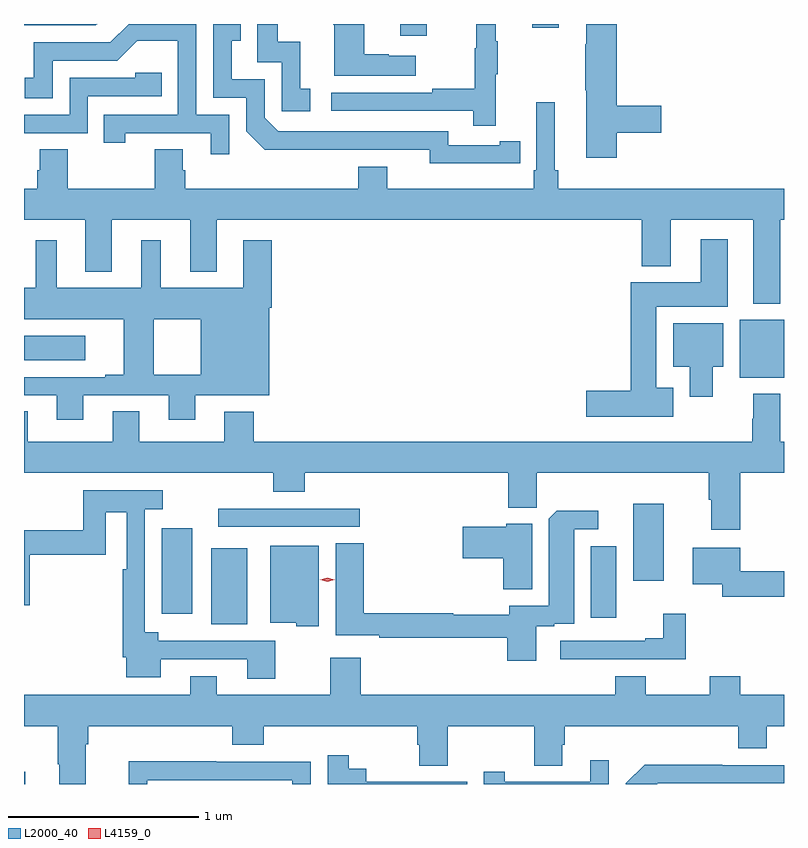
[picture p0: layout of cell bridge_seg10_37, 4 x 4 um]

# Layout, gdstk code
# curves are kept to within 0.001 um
import gdstk
lib = gdstk.Library(unit=1e-6, precision=1e-09)
def R(c, l, rs):  # rectangles x0, y0, x1, y1
    for r in rs: c.add(gdstk.rectangle(r[:2], r[2:], *l))
def P(c, l, *ps):  # polygons
    for p in ps: c.add(gdstk.Polygon(p, *l))
L2000_40 = (2000, 40)
L4159_0 = (4159, 0)

bridge_seg10_37 = lib.new_cell('bridge_seg10_37')
R(bridge_seg10_37, L2000_40, [(936.936,1321.323,936.943,1321.387), (937.922,1322.165,938.11,1322.563), (939.92,1322.199,940.054,1322.575), (937.661,1322.22,937.822,1322.668), (940.142,1322.394,940.303,1322.797), (937.959,1322.676,938.704,1322.772), (940.703,1323.461,940.936,1323.766), (936.936,1323.554,937.258,1323.682), (938.915,1325.262,939.055,1325.323), (939.611,1325.304,939.751,1325.323)])
P(bridge_seg10_37, L2000_40, [(938.016,1324.845),(937.842,1324.845),(937.842,1325.323),(937.488,1325.323),(937.391,1325.226),(936.988,1325.226),(936.988,1325.041),(936.939,1325.041),(936.939,1324.932),(937.086,1324.932),(937.086,1325.13),(937.428,1325.13),(937.532,1325.234),(937.746,1325.234),(937.746,1324.845),(937.357,1324.845),(937.357,1324.698),(937.468,1324.698),(937.468,1324.749),(937.919,1324.749),(937.919,1324.638),(938.016,1324.638)],
  [(937.321,1325.323),(936.936,1325.323),(936.936,1325.316),(937.314,1325.316)],
  [(939.419,1325.059),(939.43,1325.059),(939.43,1325.233),(939.419,1325.233),(939.419,1325.323),(939.316,1325.323),(939.316,1325.196),(939.309,1325.196),(939.309,1324.982),(939.085,1324.982),(939.085,1324.962),(938.553,1324.962),(938.553,1324.866),(939.301,1324.866),(939.301,1324.788),(939.419,1324.788)],
  [(938.443,1324.983),(938.39,1324.983),(938.39,1325.23),(938.272,1325.23),(938.272,1325.323),(938.163,1325.323),(938.163,1325.121),(938.292,1325.121),(938.292,1324.863),(938.443,1324.863)],
  [(939.44,1324.59),(939.548,1324.59),(939.548,1324.706),(939.44,1324.706),(939.44,1324.686),(939.168,1324.686),(939.168,1324.758),(938.274,1324.758),(938.202,1324.83),(938.202,1325.031),(938.029,1325.031),(938.029,1325.235),(938.078,1325.235),(938.078,1325.323),(937.932,1325.323),(937.932,1324.935),(938.106,1324.935),(938.106,1324.758),(938.204,1324.661),(939.072,1324.662),(939.072,1324.589)],
  [(938.998,1325.155),(938.855,1325.155),(938.855,1325.165),(938.728,1325.165),(938.728,1325.323),(938.563,1325.323),(938.563,1325.318),(938.57,1325.318),(938.57,1325.051),(938.998,1325.051)],
  [(940.055,1324.75),(940.291,1324.75),(940.291,1324.892),(940.055,1324.892),(940.055,1325.323),(939.896,1325.323),(939.896,1325.216),(939.889,1325.216),(939.889,1324.975),(939.896,1324.975),(939.896,1324.62),(940.055,1324.62)],
  [(937.272,1324.944),(937.661,1324.944),(937.661,1325.067),(937.521,1325.067),(937.521,1325.04),(937.176,1325.04),(937.176,1324.845),(936.936,1324.845),(936.936,1324.749),(937.272,1324.749)],
  [(940.915,1324.292),(940.936,1324.292),(940.936,1324.456),(939.749,1324.456),(939.749,1324.552),(939.73,1324.552),(939.73,1324.912),(939.633,1324.912),(939.633,1324.552),(939.62,1324.552),(939.62,1324.456),(938.848,1324.456),(938.848,1324.573),(938.696,1324.573),(938.696,1324.456),(937.784,1324.456),(937.784,1324.554),(937.771,1324.554),(937.771,1324.664),(937.624,1324.664),(937.624,1324.456),(937.167,1324.456),(937.167,1324.664),(937.019,1324.664),(937.019,1324.554),(937.007,1324.554),(937.007,1324.456),(936.936,1324.456),(936.936,1324.292),(937.259,1324.292),(937.259,1324.019),(937.399,1324.019),(937.399,1324.292),(937.811,1324.292),(937.811,1324.019),(937.951,1324.019),(937.951,1324.292),(940.187,1324.292),(940.187,1324.049),(940.339,1324.049),(940.339,1324.292),(940.775,1324.292),(940.775,1323.851),(940.915,1323.851)],
  [(940.354,1323.409),(940.264,1323.409),(940.264,1323.836),(940.639,1323.836),(940.639,1324.189),(940.499,1324.189),(940.499,1323.964),(940.13,1323.964),(940.13,1323.392),(939.894,1323.392),(939.894,1323.257),(940.354,1323.257)],
  [(937.249,1323.369),(937.697,1323.369),(937.697,1323.24),(937.837,1323.24),(937.837,1323.368),(938.227,1323.368),(938.227,1323.83),(938.24,1323.83),(938.24,1324.186),(938.09,1324.186),(938.09,1323.934),(937.657,1323.934),(937.657,1324.186),(937.553,1324.186),(937.553,1323.934),(937.108,1323.934),(937.108,1324.186),(936.998,1324.186),(936.998,1323.934),(936.936,1323.934),(936.936,1323.77),(937.46,1323.77),(937.46,1323.478),(937.618,1323.478),(937.618,1323.77),(937.865,1323.77),(937.865,1323.478),(937.618,1323.478),(937.46,1323.478),(937.364,1323.478),(937.364,1323.465),(936.936,1323.465),(936.936,1323.369),(937.109,1323.369),(937.109,1323.24),(937.249,1323.24)],
  [(940.561,1323.518),(940.615,1323.518),(940.615,1323.748),(940.352,1323.748),(940.352,1323.518),(940.439,1323.518),(940.439,1323.36),(940.561,1323.36)],
  [(940.706,1322.96),(940.936,1322.96),(940.936,1323.124),(940.915,1323.124),(940.915,1323.376),(940.775,1323.376),(940.775,1323.245),(940.768,1323.245),(940.768,1323.124),(938.144,1323.124),(938.144,1323.283),(937.991,1323.283),(937.991,1323.124),(937.543,1323.124),(937.543,1323.284),(937.403,1323.284),(937.403,1323.124),(936.955,1323.124),(936.955,1323.284),(936.936,1323.284),(936.936,1322.96),(938.249,1322.96),(938.249,1322.861),(938.414,1322.861),(938.414,1322.96),(939.485,1322.96),(939.485,1322.778),(939.635,1322.778),(939.635,1322.96),(940.541,1322.96),(940.541,1322.819),(940.553,1322.819),(940.553,1322.661),(940.706,1322.661)],
  [(938.259,1322.076),(937.642,1322.076),(937.642,1322.122),(937.572,1322.122),(937.572,1322.768),(937.666,1322.768),(937.666,1322.868),(937.249,1322.868),(937.249,1322.659),(936.936,1322.659),(936.936,1322.265),(936.965,1322.265),(936.965,1322.53),(937.365,1322.53),(937.365,1322.752),(937.476,1322.752),(937.476,1322.453),(937.456,1322.453),(937.456,1321.99),(937.475,1321.99),(937.475,1321.886),(937.657,1321.886),(937.657,1321.98),(938.111,1321.98),(938.111,1321.878),(938.259,1321.878)],
  [(939.631,1322.154),(939.728,1322.154),(939.728,1322.166),(939.832,1322.166),(939.832,1322.664),(939.958,1322.664),(939.958,1322.762),(939.74,1322.762),(939.698,1322.72),(939.698,1322.262),(939.491,1322.262),(939.491,1322.215),(939.195,1322.215),(939.195,1322.222),(938.723,1322.222),(938.723,1322.591),(938.576,1322.591),(938.576,1322.106),(938.806,1322.106),(938.806,1322.094),(939.479,1322.094),(939.479,1321.971),(939.631,1321.971)],
  [(939.61,1322.692),(939.474,1322.692),(939.474,1322.677),(939.246,1322.677),(939.246,1322.512),(939.458,1322.512),(939.458,1322.347),(939.61,1322.347)],
  [(938.488,1322.578),(938.231,1322.578),(938.231,1322.171),(938.37,1322.171),(938.37,1322.153),(938.488,1322.153)],
  [(940.936,1322.444),(940.707,1322.444),(940.707,1322.566),(940.457,1322.566),(940.457,1322.375),(940.611,1322.375),(940.611,1322.308),(940.936,1322.308)],
  [(940.418,1322.218),(940.3,1322.218),(940.3,1322.089),(940.205,1322.089),(940.205,1322.076),(939.759,1322.076),(939.759,1321.98),(940.418,1321.98)],
  [(937.261,1321.532),(937.274,1321.532),(937.274,1321.628),(938.033,1321.628),(938.033,1321.529),(938.198,1321.529),(938.198,1321.628),(939.005,1321.628),(939.005,1321.53),(939.017,1321.53),(939.017,1321.42),(939.165,1321.42),(939.165,1321.628),(939.622,1321.628),(939.622,1321.42),(939.769,1321.42),(939.769,1321.53),(939.782,1321.53),(939.782,1321.628),(940.694,1321.628),(940.694,1321.511),(940.846,1321.511),(940.846,1321.628),(940.936,1321.628),(940.936,1321.792),(940.706,1321.792),(940.706,1321.891),(940.546,1321.891),(940.546,1321.792),(940.209,1321.792),(940.209,1321.891),(940.049,1321.891),(940.049,1321.792),(938.708,1321.792),(938.708,1321.987),(938.548,1321.987),(938.548,1321.792),(937.951,1321.792),(937.951,1321.891),(937.811,1321.891),(937.811,1321.792),(936.936,1321.792),(936.936,1321.628),(937.114,1321.628),(937.114,1321.426),(937.121,1321.426),(937.121,1321.323),(937.261,1321.323)],
  [(939.27,1321.335),(938.736,1321.335),(938.736,1321.404),(938.644,1321.404),(938.644,1321.474),(938.535,1321.474),(938.535,1321.323),(939.27,1321.323)],
  [(940.014,1321.447),(939.917,1321.447),(939.917,1321.335),(939.466,1321.335),(939.466,1321.387),(939.355,1321.387),(939.355,1321.323),(940.014,1321.323)],
  [(937.584,1321.344),(938.349,1321.344),(938.349,1321.323),(938.445,1321.323),(938.445,1321.44),(937.949,1321.44),(937.949,1321.442),(937.486,1321.442),(937.486,1321.323),(937.584,1321.323)],
  [(940.272,1321.326),(940.936,1321.326),(940.936,1321.422),(940.61,1321.422),(940.61,1321.424),(940.202,1321.424),(940.104,1321.326),(940.104,1321.323),(940.269,1321.323)])
P(bridge_seg10_37, L4159_0, [(938.533,1322.388),(938.495,1322.398),(938.495,1322.398),(938.495,1322.398),(938.533,1322.408),(938.571,1322.398),(938.572,1322.398),(938.571,1322.398)])

lib.write_gds('bridge_seg10_37.gds')
